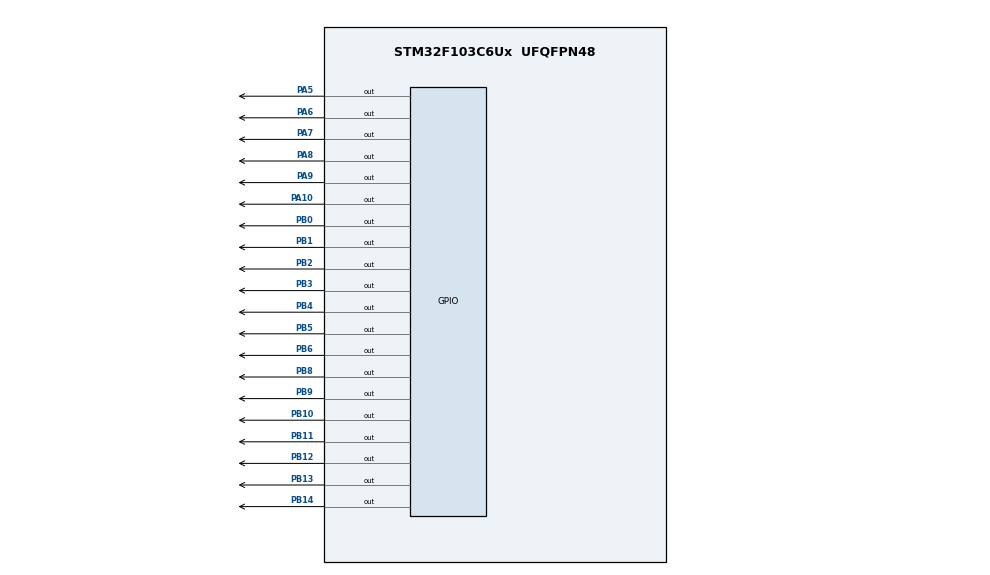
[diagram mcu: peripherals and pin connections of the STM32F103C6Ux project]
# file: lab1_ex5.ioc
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Mcu.Family=STM32F1
Mcu.Name=STM32F103C6Ux
Mcu.Package=UFQFPN48
NVIC.PriorityGroup=NVIC_PRIORITYGROUP_4
PA10.Signal=GPIO_Output
PA5.Signal=GPIO_Output
PA6.Signal=GPIO_Output
PA7.Signal=GPIO_Output
PA8.Signal=GPIO_Output
PA9.Signal=GPIO_Output
PB0.Signal=GPIO_Output
PB1.Signal=GPIO_Output
PB10.Signal=GPIO_Output
PB11.Signal=GPIO_Output
PB12.Signal=GPIO_Output
PB13.Signal=GPIO_Output
PB14.Signal=GPIO_Output
PB2.Signal=GPIO_Output
PB3.Signal=GPIO_Output
PB4.Signal=GPIO_Output
PB5.Signal=GPIO_Output
PB6.Signal=GPIO_Output
PB8.Signal=GPIO_Output
PB9.Signal=GPIO_Output
ProjectManager.HeapSize=0x200
ProjectManager.StackSize=0x400
ProjectManager.TargetToolchain=STM32CubeIDE
RCC.APB1Freq_Value=8000000
RCC.APB2Freq_Value=8000000
VP_SYS_VS_ND.Mode=No_Debug
board=custom

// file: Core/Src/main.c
/* USER CODE BEGIN Header */
/**
  ******************************************************************************
  * @file           : main.c
  * @brief          : Main program body - Bài 5: Đèn giao thông + 2 LED 7 đoạn
  ******************************************************************************
  */
/* USER CODE END Header */

#include "main.h"

/* USER CODE BEGIN PV */
int counter = 0; // Biến đếm chu kỳ 10 giây

// Mã hiển thị LED 7 đoạn Anode chung
const uint8_t segCode[10] = {
    0b11000000, // 0
    0b11111001, // 1
    0b10100100, // 2
    0b10110000, // 3
    0b10011001, // 4
    0b10010010, // 5
    0b10000010, // 6
    0b11111000, // 7
    0b10000000, // 8
    0b10010000  // 9
};
/* USER CODE END PV */

void SystemClock_Config(void);
static void MX_GPIO_Init(void);

/* USER CODE BEGIN PFP */
void display7SEG_L2(int num); // LED Làn 2 (PB0 -> PB6)
void display7SEG_L1(int num); // LED Làn 1 (PB8 -> PB14)
/* USER CODE END PFP */

/* USER CODE BEGIN 0 */

// Hàm hiển thị LED cho Làn 2 (Chân PB0 đến PB6)
void display7SEG_L2(int num)
{
  if (num >= 0 && num <= 9)
  {
    uint8_t code = segCode[num];
    for (int i = 0; i < 7; i++)
    {
      if ((code >> i) & 0x01)
        HAL_GPIO_WritePin(GPIOB, GPIO_PIN_0 << i, GPIO_PIN_SET);
      else
        HAL_GPIO_WritePin(GPIOB, GPIO_PIN_0 << i, GPIO_PIN_RESET);
    }
  }
}

// Hàm hiển thị LED cho Làn 1 (Chân PB8 đến PB14)
void display7SEG_L1(int num)
{
  if (num >= 0 && num <= 9)
  {
    uint8_t code = segCode[num];
    for (int i = 0; i < 7; i++)
    {
      // Dịch bit từ GPIO_PIN_8 lên dần để tương ứng với PB8 -> PB14
      if ((code >> i) & 0x01)
        HAL_GPIO_WritePin(GPIOB, GPIO_PIN_8 << i, GPIO_PIN_SET);
      else
        HAL_GPIO_WritePin(GPIOB, GPIO_PIN_8 << i, GPIO_PIN_RESET);
    }
  }
}
/* USER CODE END 0 */

int main(void)
{
  /* Reset of all peripherals, Initializes the Flash interface and the Systick. */
  HAL_Init();

  /* Configure the system clock */
  SystemClock_Config();

  /* Initialize all configured peripherals */
  MX_GPIO_Init();

  /* Infinite loop */
  while (1)
  {

    /* USER CODE BEGIN 3 */
    if (counter < 3)
    {
      // PHA 1: Làn 1 ĐỎ (5s) | Làn 2 XANH (3s)
      HAL_GPIO_WritePin(GPIOA, GPIO_PIN_5, GPIO_PIN_SET);   // Đỏ 1 SÁNG
      HAL_GPIO_WritePin(GPIOA, GPIO_PIN_6, GPIO_PIN_RESET); // Vàng 1 TẮT
      HAL_GPIO_WritePin(GPIOA, GPIO_PIN_7, GPIO_PIN_RESET); // Xanh 1 TẮT

      HAL_GPIO_WritePin(GPIOA, GPIO_PIN_8, GPIO_PIN_RESET); // Đỏ 2 TẮT
      HAL_GPIO_WritePin(GPIOA, GPIO_PIN_9, GPIO_PIN_RESET); // Vàng 2 TẮT
      HAL_GPIO_WritePin(GPIOA, GPIO_PIN_10, GPIO_PIN_SET);  // Xanh 2 SÁNG

      display7SEG_L1(5 - counter); // Làn 1 đếm Đỏ: 5, 4, 3
      display7SEG_L2(3 - counter); // Làn 2 đếm Xanh: 3, 2, 1
    }
    else if (counter < 5)
    {
      // PHA 2: Làn 1 ĐỎ (tiếp tục) | Làn 2 VÀNG (2s)
      HAL_GPIO_WritePin(GPIOA, GPIO_PIN_5, GPIO_PIN_SET);
      HAL_GPIO_WritePin(GPIOA, GPIO_PIN_6, GPIO_PIN_RESET);
      HAL_GPIO_WritePin(GPIOA, GPIO_PIN_7, GPIO_PIN_RESET);

      HAL_GPIO_WritePin(GPIOA, GPIO_PIN_8, GPIO_PIN_RESET);
      HAL_GPIO_WritePin(GPIOA, GPIO_PIN_9, GPIO_PIN_SET);   // Vàng 2 SÁNG
      HAL_GPIO_WritePin(GPIOA, GPIO_PIN_10, GPIO_PIN_RESET);

      display7SEG_L1(5 - counter); // Làn 1 đếm Đỏ: 2, 1
      display7SEG_L2(5 - counter); // Làn 2 đếm Vàng: 2, 1
    }
    else if (counter < 8)
    {
      // PHA 3: Làn 1 XANH (3s) | Làn 2 ĐỎ (5s)
      HAL_GPIO_WritePin(GPIOA, GPIO_PIN_5, GPIO_PIN_RESET);
      HAL_GPIO_WritePin(GPIOA, GPIO_PIN_6, GPIO_PIN_RESET);
      HAL_GPIO_WritePin(GPIOA, GPIO_PIN_7, GPIO_PIN_SET);   // Xanh 1 SÁNG

      HAL_GPIO_WritePin(GPIOA, GPIO_PIN_8, GPIO_PIN_SET);   // Đỏ 2 SÁNG
      HAL_GPIO_WritePin(GPIOA, GPIO_PIN_9, GPIO_PIN_RESET);
      HAL_GPIO_WritePin(GPIOA, GPIO_PIN_10, GPIO_PIN_RESET);

      display7SEG_L1(8 - counter);  // Làn 1 đếm Xanh: 3, 2, 1
      display7SEG_L2(10 - counter); // Làn 2 đếm Đỏ: 5, 4, 3
    }
    else
    {
      // PHA 4: Làn 1 VÀNG (2s) | Làn 2 ĐỎ (tiếp tục)
      HAL_GPIO_WritePin(GPIOA, GPIO_PIN_5, GPIO_PIN_RESET);
      HAL_GPIO_WritePin(GPIOA, GPIO_PIN_6, GPIO_PIN_SET);   // Vàng 1 SÁNG
      HAL_GPIO_WritePin(GPIOA, GPIO_PIN_7, GPIO_PIN_RESET);

      HAL_GPIO_WritePin(GPIOA, GPIO_PIN_8, GPIO_PIN_SET);
      HAL_GPIO_WritePin(GPIOA, GPIO_PIN_9, GPIO_PIN_RESET);
      HAL_GPIO_WritePin(GPIOA, GPIO_PIN_10, GPIO_PIN_RESET);

      display7SEG_L1(10 - counter); // Làn 1 đếm Vàng: 2, 1
      display7SEG_L2(10 - counter); // Làn 2 đếm Đỏ: 2, 1
    }

    counter++;
    if (counter >= 10)
    {
      counter = 0;
    }

    HAL_Delay(1000);
  }
  /* USER CODE END 3 */
}

void SystemClock_Config(void)
{
  RCC_OscInitTypeDef RCC_OscInitStruct = {0};
  RCC_ClkInitTypeDef RCC_ClkInitStruct = {0};

  RCC_OscInitStruct.OscillatorType = RCC_OSCILLATORTYPE_HSI;
  RCC_OscInitStruct.HSIState = RCC_HSI_ON;
  RCC_OscInitStruct.HSICalibrationValue = RCC_HSICALIBRATION_DEFAULT;
  RCC_OscInitStruct.PLL.PLLState = RCC_PLL_NONE;
  if (HAL_RCC_OscConfig(&RCC_OscInitStruct) != HAL_OK)
  {
    Error_Handler();
  }

  RCC_ClkInitStruct.ClockType = RCC_CLOCKTYPE_HCLK|RCC_CLOCKTYPE_SYSCLK
                              |RCC_CLOCKTYPE_PCLK1|RCC_CLOCKTYPE_PCLK2;
  RCC_ClkInitStruct.SYSCLKSource = RCC_SYSCLKSOURCE_HSI;
  RCC_ClkInitStruct.AHBCLKDivider = RCC_SYSCLK_DIV1;
  RCC_ClkInitStruct.APB1CLKDivider = RCC_HCLK_DIV1;
  RCC_ClkInitStruct.APB2CLKDivider = RCC_HCLK_DIV1;

  if (HAL_RCC_ClockConfig(&RCC_ClkInitStruct, FLASH_LATENCY_0) != HAL_OK)
  {
    Error_Handler();
  }
}

static void MX_GPIO_Init(void)
{
  GPIO_InitTypeDef GPIO_InitStruct = {0};

  /* GPIO Ports Clock Enable */
  __HAL_RCC_GPIOA_CLK_ENABLE();
  __HAL_RCC_GPIOB_CLK_ENABLE();

  /* GIẢI PHÓNG CHÂN JTAG ĐỂ DÙNG ĐƯỢC CHÂN PB3, PB4 LÀM OUTPUT */
  __HAL_RCC_AFIO_CLK_ENABLE();
  __HAL_AFIO_REMAP_SWJ_DISABLE();

  /*Configure GPIO pin Output Level cho Đèn giao thông (PA5-PA10) */
  HAL_GPIO_WritePin(GPIOA, GPIO_PIN_5|GPIO_PIN_6|GPIO_PIN_7|GPIO_PIN_8
                          |GPIO_PIN_9|GPIO_PIN_10, GPIO_PIN_RESET);

  /*Configure GPIO pin Output Level cho 2 LED 7 đoạn (PB0-PB6 và PB8-PB14) */
  HAL_GPIO_WritePin(GPIOB, GPIO_PIN_0|GPIO_PIN_1|GPIO_PIN_2|GPIO_PIN_3
                          |GPIO_PIN_4|GPIO_PIN_5|GPIO_PIN_6|GPIO_PIN_8
                          |GPIO_PIN_9|GPIO_PIN_10|GPIO_PIN_11|GPIO_PIN_12
                          |GPIO_PIN_13|GPIO_PIN_14, GPIO_PIN_RESET);

  /* Cấu hình Mode Output cho Đèn giao thông */
  GPIO_InitStruct.Pin = GPIO_PIN_5|GPIO_PIN_6|GPIO_PIN_7|GPIO_PIN_8
                          |GPIO_PIN_9|GPIO_PIN_10;
  GPIO_InitStruct.Mode = GPIO_MODE_OUTPUT_PP;
  GPIO_InitStruct.Pull = GPIO_NOPULL;
  GPIO_InitStruct.Speed = GPIO_SPEED_FREQ_LOW;
  HAL_GPIO_Init(GPIOA, &GPIO_InitStruct);

  /* Cấu hình Mode Output cho 2 LED 7 đoạn */
  GPIO_InitStruct.Pin = GPIO_PIN_0|GPIO_PIN_1|GPIO_PIN_2|GPIO_PIN_3
                          |GPIO_PIN_4|GPIO_PIN_5|GPIO_PIN_6|GPIO_PIN_8
                          |GPIO_PIN_9|GPIO_PIN_10|GPIO_PIN_11|GPIO_PIN_12
                          |GPIO_PIN_13|GPIO_PIN_14;
  GPIO_InitStruct.Mode = GPIO_MODE_OUTPUT_PP;
  GPIO_InitStruct.Pull = GPIO_NOPULL;
  GPIO_InitStruct.Speed = GPIO_SPEED_FREQ_LOW;
  HAL_GPIO_Init(GPIOB, &GPIO_InitStruct);
}

void Error_Handler(void)
{
  __disable_irq();
  while (1)
  {
  }
}
